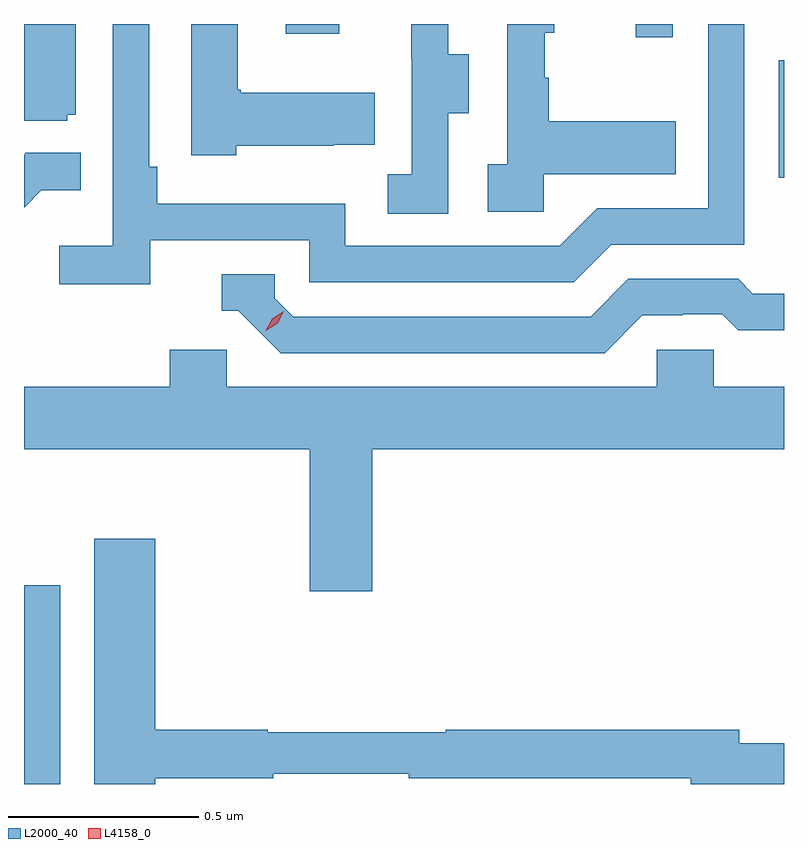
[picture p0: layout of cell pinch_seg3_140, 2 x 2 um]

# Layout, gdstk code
import gdstk
lib = gdstk.Library(unit=1e-6, precision=1e-09)
def R(c, l, rs):  # rectangles x0, y0, x1, y1
    for r in rs: c.add(gdstk.rectangle(r[:2], r[2:], *l))
def P(c, l, *ps):  # polygons
    for p in ps: c.add(gdstk.Polygon(p, *l))
L2000_40 = (2000, 40)
L4158_0 = (4158, 0)

pinch_seg3_140 = lib.new_cell('pinch_seg3_140')
R(pinch_seg3_140, L2000_40, [(1135.284,724.011,1135.38,724.534), (1137.27,725.607,1137.284,725.916), (1136.894,725.976,1136.991,726.011), (1135.973,725.985,1136.113,726.011)])
P(pinch_seg3_140, L2000_40, [(1135.616,725.442),(1136.034,725.442),(1136.034,725.331),(1136.731,725.331),(1136.83,725.43),(1137.18,725.43),(1137.18,726.011),(1137.084,726.011),(1137.084,725.526),(1136.793,725.526),(1136.694,725.427),(1136.13,725.427),(1136.13,725.538),(1135.634,725.538),(1135.634,725.635),(1135.614,725.635),(1135.614,726.011),(1135.518,726.011),(1135.518,725.428),(1135.377,725.428),(1135.377,725.326),(1135.616,725.326)],
  [(1135.398,725.772),(1135.42,725.772),(1135.42,726.011),(1135.284,726.011),(1135.284,725.757),(1135.398,725.757)],
  [(1136.4,725.776),(1136.455,725.776),(1136.455,725.931),(1136.401,725.931),(1136.401,726.011),(1136.303,726.011),(1136.303,725.919),(1136.304,725.919),(1136.304,725.615),(1136.241,725.615),(1136.241,725.512),(1136.4,725.512)],
  [(1136.652,725.615),(1136.999,725.615),(1136.999,725.755),(1136.665,725.755),(1136.665,725.87),(1136.655,725.87),(1136.655,725.988),(1136.68,725.988),(1136.68,726.011),(1136.556,726.011),(1136.556,725.642),(1136.505,725.642),(1136.505,725.517),(1136.652,725.517)],
  [(1135.842,725.69),(1136.099,725.69),(1136.099,725.693),(1136.207,725.693),(1136.207,725.83),(1135.854,725.83),(1135.854,725.838),(1135.846,725.838),(1135.846,726.011),(1135.724,726.011),(1135.724,725.666),(1135.842,725.666)],
  [(1135.329,725.573),(1135.433,725.573),(1135.433,725.672),(1135.289,725.672),(1135.284,725.667),(1135.284,725.528)],
  [(1136.911,725.244),(1137.018,725.244),(1137.018,725.247),(1137.121,725.247),(1137.163,725.205),(1137.284,725.205),(1137.284,725.301),(1137.202,725.301),(1137.163,725.34),(1136.874,725.34),(1136.775,725.241),(1135.992,725.241),(1135.944,725.289),(1135.944,725.352),(1135.805,725.352),(1135.805,725.256),(1135.848,725.256),(1135.959,725.145),(1136.812,725.145)],
  [(1136.2,724.892),(1137.284,724.892),(1137.284,725.056),(1137.099,725.056),(1137.099,725.154),(1136.949,725.154),(1136.949,725.056),(1135.818,725.056),(1135.818,725.154),(1135.667,725.154),(1135.667,725.056),(1135.284,725.056),(1135.284,724.892),(1136.036,724.892),(1136.036,724.518),(1136.2,724.518)],
  [(1135.63,724.026),(1135.94,724.026),(1135.94,724.038),(1136.296,724.038),(1136.296,724.026),(1137.038,724.026),(1137.038,724.011),(1137.284,724.011),(1137.284,724.118),(1137.166,724.118),(1137.166,724.154),(1136.394,724.154),(1136.394,724.147),(1135.926,724.147),(1135.926,724.154),(1135.63,724.154),(1135.63,724.657),(1135.469,724.657),(1135.469,724.011),(1135.63,724.011)])
P(pinch_seg3_140, L4158_0, [(1135.92,725.204),(1135.92,725.204),(1135.937,725.236),(1135.968,725.255),(1135.968,725.255),(1135.968,725.255),(1135.952,725.223),(1135.92,725.204)])

lib.write_gds('pinch_seg3_140.gds')
